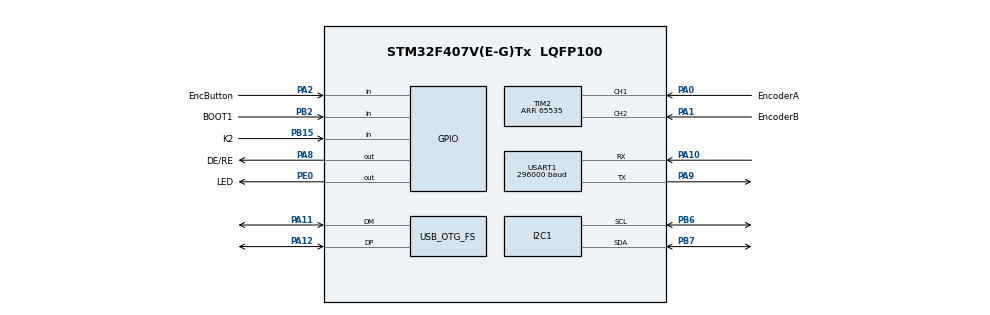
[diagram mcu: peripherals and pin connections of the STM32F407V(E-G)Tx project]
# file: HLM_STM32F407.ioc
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I2C1.I2C_Mode=I2C_Fast
Mcu.Family=STM32F4
Mcu.Name=STM32F407V(E-G)Tx
Mcu.Package=LQFP100
NVIC.OTG_FS_IRQn=true\:0\:0\:false\:false\:true\:false\:true\:true
NVIC.PriorityGroup=NVIC_PRIORITYGROUP_4
NVIC.USART1_IRQn=true\:0\:0\:false\:false\:true\:true\:true\:true
PA0-WKUP.GPIO_Label=EncoderA
PA0-WKUP.Signal=S_TIM2_CH1_ETR
PA1.GPIO_Label=EncoderB
PA1.Signal=S_TIM2_CH2
PA10.Mode=Asynchronous
PA10.Signal=USART1_RX
PA11.Mode=Device_Only
PA11.Signal=USB_OTG_FS_DM
PA12.Mode=Device_Only
PA12.Signal=USB_OTG_FS_DP
PA13.Mode=Serial_Wire
PA13.Signal=SYS_JTMS-SWDIO
PA14.Mode=Serial_Wire
PA14.Signal=SYS_JTCK-SWCLK
PA2.GPIO_Label=EncButton
PA2.GPIO_PuPd=GPIO_PULLUP
PA2.Signal=GPIO_Input
PA8.GPIO_Label=DE/RE
PA8.Signal=GPIO_Output
PA9.Mode=Asynchronous
PA9.Signal=USART1_TX
PB15.GPIO_Label=K2
PB15.Signal=GPIO_Input
PB2.GPIO_Label=BOOT1
PB2.Signal=GPIO_Input
PB6.Mode=I2C
PB6.Signal=I2C1_SCL
PB7.Mode=I2C
PB7.Signal=I2C1_SDA
PE0.GPIO_Label=LED
PE0.Signal=GPIO_Output
PH0-OSC_IN.Mode=HSE-External-Oscillator
PH0-OSC_IN.Signal=RCC_OSC_IN
PH1-OSC_OUT.Mode=HSE-External-Oscillator
PH1-OSC_OUT.Signal=RCC_OSC_OUT
ProjectManager.HeapSize=0x200
ProjectManager.StackSize=0x400
ProjectManager.TargetToolchain=CMake
RCC.48MHZClocksFreq_Value=48000000
RCC.AHBFreq_Value=168000000
RCC.APB1CLKDivider=RCC_HCLK_DIV4
RCC.APB1Freq_Value=42000000
RCC.APB1TimFreq_Value=84000000
RCC.APB2CLKDivider=RCC_HCLK_DIV2
RCC.APB2Freq_Value=84000000
RCC.APB2TimFreq_Value=168000000
RCC.CortexFreq_Value=168000000
RCC.HCLKFreq_Value=168000000
RCC.HSE_VALUE=8000000
RCC.HSI_VALUE=16000000
RCC.LSE_VALUE=32768
RCC.PLLM=8
RCC.PLLN=336
RCC.PLLQ=7
RCC.SYSCLKFreq_VALUE=168000000
RCC.SYSCLKSource=RCC_SYSCLKSOURCE_PLLCLK
RCC.VCOOutputFreq_Value=336000000
SH.S_TIM2_CH1_ETR.0=TIM2_CH1,Encoder_Interface
SH.S_TIM2_CH2.0=TIM2_CH2,Encoder_Interface
TIM2.EncoderMode=TIM_ENCODERMODE_TI12
TIM2.IC1Filter=15
TIM2.IC1Polarity=TIM_ICPOLARITY_FALLING
TIM2.IC2Polarity=TIM_ICPOLARITY_FALLING
TIM2.Period=65535
USART1.BaudRate=296000
USART1.StopBits=STOPBITS_2
USART1.VirtualMode=VM_ASYNC
USART1.WordLength=WORDLENGTH_9B
USB_DEVICE.CLASS_NAME_FS=CDC
USB_DEVICE.VirtualMode-CDC_FS=Cdc
USB_DEVICE.VirtualModeFS=Cdc_FS
USB_OTG_FS.VirtualMode=Device_Only
VP_USB_DEVICE_VS_USB_DEVICE_CDC_FS.Mode=CDC_FS
board=custom

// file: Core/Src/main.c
/* USER CODE BEGIN Header */

/*
 * This file is part of the Homebrew Loudspeaker Manager distribution (https://github.com/robcazzaro/hlm).
 * Copyright (c) 2026 Rob Cazzaro.
 *
 * This program is free software: you can redistribute it and/or modify
 * it under the terms of the GNU General Public License as published by
 * the Free Software Foundation, version 3.
 *
 * This program is distributed in the hope that it will be useful, but
 * WITHOUT ANY WARRANTY; without even the implied warranty of
 * MERCHANTABILITY or FITNESS FOR A PARTICULAR PURPOSE. See the GNU
 * General Public License for more details.
 *
 * You should have received a copy of the GNU General Public License
 * along with this program. If not, see <http://www.gnu.org/licenses/>.
 */

/*

If you are building a new STM32Cube project, you need to also modify some of the ST files

modify USB_Device\App\usb_cdc_if.c
  add in private_variables
  volatile uint8_t usb_port_opened = 0;

  and modify

      case CDC_SET_CONTROL_LINE_STATE:
        // USER CODE BEGIN 3
        // pbuf[0] contains the DTR (bit 0) and RTS (bit 1) states.
        // We check bit 0 to see if the terminal has asserted DTR (port opened).
        usb_port_opened = (pbuf[0] & 0x01) != 0;
        // USER CODE END 3
      break;

Also change stm32f1xx_it.c with ISR code for the USART port

User includes
#include <stdbool.h> // Need this for the 'bool' type
#include <string.h>  // Need this for memcpy

Private Variables

  // Internal ISR state (Do not touch outside the interrupt)
  extern uint16_t isr_buffer[RX_BUFFER_SIZE];
  extern uint16_t isr_index;

  extern volatile uint16_t parse_buffer[RX_BUFFER_SIZE];
  extern volatile uint16_t parse_length;
  extern volatile bool message_ready;

void USART1_IRQHandler(void)
{
    // 1. Check for Hardware Errors FIRST
    // We read the Status Register (SR) here via the IsActiveFlag functions.
    bool has_error = false;
    if (LL_USART_IsActiveFlag_ORE(USART1) ||
        LL_USART_IsActiveFlag_FE(USART1) ||
        LL_USART_IsActiveFlag_NE(USART1))
    {
        has_error = true;
    }

    // 2. Check if a character was received
    if (LL_USART_IsActiveFlag_RXNE(USART1) && LL_USART_IsEnabledIT_RXNE(USART1))
    {
        // 3. Read the Data Register
        // *CRITICAL HARDWARE BEHAVIOR*: Reading DR right here automatically
        // clears the RXNE flag AND all the Error flags (ORE, FE, NE) we just checked!
        uint16_t rx_char = LL_USART_ReceiveData9(USART1);

        // 4. If this byte arrived with a framing or overrun error, drop the whole frame
        if (has_error)
        {
            isr_index = 0;
        }
        else
        {
            // 5. Normal processing: Is this the start of a new frame? (9th bit HIGH)
            if (rx_char & 0x0100)
            {
                isr_index = 0;
                isr_buffer[isr_index++] = rx_char;
            }
            // 6. Only capture if we are actively building a valid frame
            else if (isr_index > 0)
            {
                isr_buffer[isr_index++] = rx_char;

                // 7. End of Frame marker? (0x7E)
                if ((rx_char & 0x00FF) == 0x7E)
                {
                    if (!message_ready)
                    {
                        memcpy((void*)parse_buffer, (void*)isr_buffer, isr_index * sizeof(uint16_t));
                        parse_length = isr_index;
                        message_ready = true;
                    }
                    isr_index = 0;
                }
                // 8. Buffer Overflow Protection
                else if (isr_index >= RX_BUFFER_SIZE)
                {
                    isr_index = 0;
                }
            }
        }
    }
}

*/

/**
  ******************************************************************************
  * @file           : main.c
  * @brief          : Main program body
  ******************************************************************************
  * @attention
  *
  * Copyright (c) 2026 STMicroelectronics.
  * All rights reserved.
  *
  * This software is licensed under terms that can be found in the LICENSE file
  * in the root directory of this software component.
  * If no LICENSE file comes with this software, it is provided AS-IS.
  *
  ******************************************************************************
  */
/* USER CODE END Header */
#include "main.h"
#include "usb_device.h"

/* USER CODE BEGIN Includes */
#include "main.h"
#include "hub_app.h"
#include "usb_device.h"
#include "stdint.h"
#include "stdbool.h"
#include "stdio.h" // For printf
#include "usbd_cdc_if.h"
#include "stm32f4xx_ll_usart.h" // Ensure LL USART header is included
#include "stm32f4xx_hal.h"
#include "stm32f4xx_ll_i2c.h"
#include "glm_library.h"
#include "bsp.h"
#include "oled.h"

/* USER CODE END Includes */

/* USER CODE BEGIN PV */

// The Double Buffer (Exposed to main loop)
volatile uint16_t parse_buffer[RX_BUFFER_SIZE];
volatile uint16_t parse_length = 0;
volatile bool message_ready = false;

volatile bool dump = false;

/* USER CODE END PV */

void SystemClock_Config(void);
static void MX_GPIO_Init(void);
static void MX_USART1_UART_Init(void);
static void MX_I2C1_Init(void);
static void MX_TIM2_Init(void);

/* USER CODE BEGIN 0 */

// Make sure OLED_I2C is defined as your I2C instance (e.g., I2C1)
#ifndef OLED_I2C
#define OLED_I2C I2C1
#endif

#if !defined(HLM_HUB) && !defined(HLM_HEX_DUMP) && !defined(HLM_ANALYZER)
    #error "Compilation Error: You must define one of HLM_HUB, HLM_HEX_DUMP, or HLM_ANALYZER."
#endif
/* USER CODE END 0 */

int main(void)
{

  /* MCU Configuration--------------------------------------------------------*/

  /* Reset of all peripherals, Initializes the Flash interface and the Systick. */
   HAL_Init();

  /* Configure the system clock */
  SystemClock_Config();

  /* Initialize all configured peripherals */
  MX_GPIO_Init();
  MX_USART1_UART_Init();
  MX_USB_DEVICE_Init();
#ifdef HLM_HUB    // I2C and encoder are used only for the hub, not protocol analyzers
  MX_I2C1_Init();   // it will generate a compiler warning that the function is defined and not used, just ignore
  MX_TIM2_Init();
#endif
  /* USER CODE BEGIN 2 */

  // Enable the USART1 Receive Interrupt.
  // It will now fire the USART1_IRQHandler every time a byte arrives.
  LL_USART_EnableIT_RXNE(USART1);

  // Optional but recommended: Enable error interrupts so ORE/FE flags trigger the ISR
  //LL_USART_EnableIT_ERROR(USART1);

  LL_GPIO_SetOutputPin(LED_GPIO_Port, LED_Pin);           // turn off LED
  LL_GPIO_ResetOutputPin(DE_RE_GPIO_Port, DE_RE_Pin);     // MAX485 in receive mode

#ifdef HLM_HUB    // only needed for the hub functionality
  encoder_volume_init();
  button_init();
  oled_init();
  hub_init();
#endif

  /* USER CODE END 2 */

  /* Infinite loop */
  /* USER CODE BEGIN WHILE */
  while (1) {

    // Process any data waiting to be sent over USB
    process_usb_tx_task();

    // Check if a complete, valid frame was copied by the ISR
    if (message_ready) {

#ifdef HLM_HEX_DUMP
      dump_message((uint16_t *)parse_buffer, parse_length);
#else
      // Pass the double-buffer to your parser
      parse_message((uint16_t*)parse_buffer, parse_length);   // HLM_HUB or HLM_ANALYZER will define the parse_message behavior
#endif

      message_ready = false;
    }

#ifdef HLM_HUB
    // Update encoder and button
    encoder_volume_update();
    button_task();
    hub_main_loop();
#endif

    /* USER CODE END WHILE */

  }
}

void SystemClock_Config(void)
{
  LL_FLASH_SetLatency(LL_FLASH_LATENCY_5);
  while(LL_FLASH_GetLatency()!= LL_FLASH_LATENCY_5)
  {
  }
  LL_PWR_SetRegulVoltageScaling(LL_PWR_REGU_VOLTAGE_SCALE1);
  LL_RCC_HSE_Enable();

   /* Wait till HSE is ready */
  while(LL_RCC_HSE_IsReady() != 1)
  {

  }
  LL_RCC_PLL_ConfigDomain_SYS(LL_RCC_PLLSOURCE_HSE, LL_RCC_PLLM_DIV_8, 336, LL_RCC_PLLP_DIV_2);
  LL_RCC_PLL_ConfigDomain_48M(LL_RCC_PLLSOURCE_HSE, LL_RCC_PLLM_DIV_8, 336, LL_RCC_PLLQ_DIV_7);
  LL_RCC_PLL_Enable();

   /* Wait till PLL is ready */
  while(LL_RCC_PLL_IsReady() != 1)
  {

  }
  while (LL_PWR_IsActiveFlag_VOS() == 0)
  {
  }
  LL_RCC_SetAHBPrescaler(LL_RCC_SYSCLK_DIV_1);
  LL_RCC_SetAPB1Prescaler(LL_RCC_APB1_DIV_4);
  LL_RCC_SetAPB2Prescaler(LL_RCC_APB2_DIV_2);
  LL_RCC_SetSysClkSource(LL_RCC_SYS_CLKSOURCE_PLL);

   /* Wait till System clock is ready */
  while(LL_RCC_GetSysClkSource() != LL_RCC_SYS_CLKSOURCE_STATUS_PLL)
  {

  }
  LL_SetSystemCoreClock(168000000);

   /* Update the time base */
  if (HAL_InitTick (TICK_INT_PRIORITY) != HAL_OK)
  {
    Error_Handler();
  }
}

static void MX_I2C1_Init(void)
{

  LL_I2C_InitTypeDef I2C_InitStruct = {0};

  LL_GPIO_InitTypeDef GPIO_InitStruct = {0};

  LL_AHB1_GRP1_EnableClock(LL_AHB1_GRP1_PERIPH_GPIOB);
  /**I2C1 GPIO Configuration
  PB6   ------> I2C1_SCL
  PB7   ------> I2C1_SDA
  */
  GPIO_InitStruct.Pin = LL_GPIO_PIN_6|LL_GPIO_PIN_7;
  GPIO_InitStruct.Mode = LL_GPIO_MODE_ALTERNATE;
  GPIO_InitStruct.Speed = LL_GPIO_SPEED_FREQ_VERY_HIGH;
  GPIO_InitStruct.OutputType = LL_GPIO_OUTPUT_OPENDRAIN;
  GPIO_InitStruct.Pull = LL_GPIO_PULL_NO;
  GPIO_InitStruct.Alternate = LL_GPIO_AF_4;
  LL_GPIO_Init(GPIOB, &GPIO_InitStruct);

  /* Peripheral clock enable */
  LL_APB1_GRP1_EnableClock(LL_APB1_GRP1_PERIPH_I2C1);

  /** I2C Initialization
  */
  LL_I2C_DisableOwnAddress2(I2C1);
  LL_I2C_DisableGeneralCall(I2C1);
  LL_I2C_EnableClockStretching(I2C1);
  I2C_InitStruct.PeripheralMode = LL_I2C_MODE_I2C;
  I2C_InitStruct.ClockSpeed = 400000;
  I2C_InitStruct.DutyCycle = LL_I2C_DUTYCYCLE_2;
  I2C_InitStruct.OwnAddress1 = 0;
  I2C_InitStruct.TypeAcknowledge = LL_I2C_ACK;
  I2C_InitStruct.OwnAddrSize = LL_I2C_OWNADDRESS1_7BIT;
  LL_I2C_Init(I2C1, &I2C_InitStruct);
  LL_I2C_SetOwnAddress2(I2C1, 0);

}

static void MX_TIM2_Init(void)
{

  LL_TIM_InitTypeDef TIM_InitStruct = {0};

  LL_GPIO_InitTypeDef GPIO_InitStruct = {0};

  /* Peripheral clock enable */
  LL_APB1_GRP1_EnableClock(LL_APB1_GRP1_PERIPH_TIM2);

  LL_AHB1_GRP1_EnableClock(LL_AHB1_GRP1_PERIPH_GPIOA);
  /**TIM2 GPIO Configuration
  PA0-WKUP   ------> TIM2_CH1
  PA1   ------> TIM2_CH2
  */
  GPIO_InitStruct.Pin = EncoderA_Pin|EncoderB_Pin;
  GPIO_InitStruct.Mode = LL_GPIO_MODE_ALTERNATE;
  GPIO_InitStruct.Speed = LL_GPIO_SPEED_FREQ_LOW;
  GPIO_InitStruct.OutputType = LL_GPIO_OUTPUT_PUSHPULL;
  GPIO_InitStruct.Pull = LL_GPIO_PULL_NO;
  GPIO_InitStruct.Alternate = LL_GPIO_AF_1;
  LL_GPIO_Init(GPIOA, &GPIO_InitStruct);

  LL_TIM_SetEncoderMode(TIM2, LL_TIM_ENCODERMODE_X4_TI12);
  LL_TIM_IC_SetActiveInput(TIM2, LL_TIM_CHANNEL_CH1, LL_TIM_ACTIVEINPUT_DIRECTTI);
  LL_TIM_IC_SetPrescaler(TIM2, LL_TIM_CHANNEL_CH1, LL_TIM_ICPSC_DIV1);
  LL_TIM_IC_SetFilter(TIM2, LL_TIM_CHANNEL_CH1, LL_TIM_IC_FILTER_FDIV32_N8);
  LL_TIM_IC_SetPolarity(TIM2, LL_TIM_CHANNEL_CH1, LL_TIM_IC_POLARITY_FALLING);
  LL_TIM_IC_SetActiveInput(TIM2, LL_TIM_CHANNEL_CH2, LL_TIM_ACTIVEINPUT_DIRECTTI);
  LL_TIM_IC_SetPrescaler(TIM2, LL_TIM_CHANNEL_CH2, LL_TIM_ICPSC_DIV1);
  LL_TIM_IC_SetFilter(TIM2, LL_TIM_CHANNEL_CH2, LL_TIM_IC_FILTER_FDIV1);
  LL_TIM_IC_SetPolarity(TIM2, LL_TIM_CHANNEL_CH2, LL_TIM_IC_POLARITY_FALLING);
  TIM_InitStruct.Prescaler = 0;
  TIM_InitStruct.CounterMode = LL_TIM_COUNTERMODE_UP;
  TIM_InitStruct.Autoreload = 65535;
  TIM_InitStruct.ClockDivision = LL_TIM_CLOCKDIVISION_DIV1;
  LL_TIM_Init(TIM2, &TIM_InitStruct);
  LL_TIM_DisableARRPreload(TIM2);
  LL_TIM_SetTriggerOutput(TIM2, LL_TIM_TRGO_RESET);
  LL_TIM_DisableMasterSlaveMode(TIM2);

}

static void MX_USART1_UART_Init(void)
{

  LL_USART_InitTypeDef USART_InitStruct = {0};

  LL_GPIO_InitTypeDef GPIO_InitStruct = {0};

  /* Peripheral clock enable */
  LL_APB2_GRP1_EnableClock(LL_APB2_GRP1_PERIPH_USART1);

  LL_AHB1_GRP1_EnableClock(LL_AHB1_GRP1_PERIPH_GPIOA);
  /**USART1 GPIO Configuration
  PA9   ------> USART1_TX
  PA10   ------> USART1_RX
  */
  GPIO_InitStruct.Pin = LL_GPIO_PIN_9|LL_GPIO_PIN_10;
  GPIO_InitStruct.Mode = LL_GPIO_MODE_ALTERNATE;
  GPIO_InitStruct.Speed = LL_GPIO_SPEED_FREQ_VERY_HIGH;
  GPIO_InitStruct.OutputType = LL_GPIO_OUTPUT_PUSHPULL;
  GPIO_InitStruct.Pull = LL_GPIO_PULL_NO;
  GPIO_InitStruct.Alternate = LL_GPIO_AF_7;
  LL_GPIO_Init(GPIOA, &GPIO_InitStruct);

  /* USART1 interrupt Init */
  NVIC_SetPriority(USART1_IRQn, NVIC_EncodePriority(NVIC_GetPriorityGrouping(),0, 0));
  NVIC_EnableIRQ(USART1_IRQn);

  USART_InitStruct.BaudRate = 296000;
  USART_InitStruct.DataWidth = LL_USART_DATAWIDTH_9B;
  USART_InitStruct.StopBits = LL_USART_STOPBITS_2;
  USART_InitStruct.Parity = LL_USART_PARITY_NONE;
  USART_InitStruct.TransferDirection = LL_USART_DIRECTION_TX_RX;
  USART_InitStruct.HardwareFlowControl = LL_USART_HWCONTROL_NONE;
  USART_InitStruct.OverSampling = LL_USART_OVERSAMPLING_16;
  LL_USART_Init(USART1, &USART_InitStruct);
  LL_USART_ConfigAsyncMode(USART1);
  LL_USART_Enable(USART1);

}

static void MX_GPIO_Init(void)
{
  LL_GPIO_InitTypeDef GPIO_InitStruct = {0};

  /* GPIO Ports Clock Enable */
  LL_AHB1_GRP1_EnableClock(LL_AHB1_GRP1_PERIPH_GPIOH);
  LL_AHB1_GRP1_EnableClock(LL_AHB1_GRP1_PERIPH_GPIOA);
  LL_AHB1_GRP1_EnableClock(LL_AHB1_GRP1_PERIPH_GPIOB);
  LL_AHB1_GRP1_EnableClock(LL_AHB1_GRP1_PERIPH_GPIOE);

  /**/
  LL_GPIO_ResetOutputPin(DE_RE_GPIO_Port, DE_RE_Pin);

  /**/
  LL_GPIO_ResetOutputPin(LED_GPIO_Port, LED_Pin);

  /**/
  GPIO_InitStruct.Pin = EncButton_Pin;
  GPIO_InitStruct.Mode = LL_GPIO_MODE_INPUT;
  GPIO_InitStruct.Pull = LL_GPIO_PULL_UP;
  LL_GPIO_Init(EncButton_GPIO_Port, &GPIO_InitStruct);

  /**/
  GPIO_InitStruct.Pin = BOOT1_Pin|K2_Pin;
  GPIO_InitStruct.Mode = LL_GPIO_MODE_INPUT;
  GPIO_InitStruct.Pull = LL_GPIO_PULL_NO;
  LL_GPIO_Init(GPIOB, &GPIO_InitStruct);

  /**/
  GPIO_InitStruct.Pin = DE_RE_Pin;
  GPIO_InitStruct.Mode = LL_GPIO_MODE_OUTPUT;
  GPIO_InitStruct.Speed = LL_GPIO_SPEED_FREQ_LOW;
  GPIO_InitStruct.OutputType = LL_GPIO_OUTPUT_PUSHPULL;
  GPIO_InitStruct.Pull = LL_GPIO_PULL_NO;
  LL_GPIO_Init(DE_RE_GPIO_Port, &GPIO_InitStruct);

  /**/
  GPIO_InitStruct.Pin = LED_Pin;
  GPIO_InitStruct.Mode = LL_GPIO_MODE_OUTPUT;
  GPIO_InitStruct.Speed = LL_GPIO_SPEED_FREQ_LOW;
  GPIO_InitStruct.OutputType = LL_GPIO_OUTPUT_PUSHPULL;
  GPIO_InitStruct.Pull = LL_GPIO_PULL_NO;
  LL_GPIO_Init(LED_GPIO_Port, &GPIO_InitStruct);

}

void Error_Handler(void)
{
  __disable_irq();
  while (1)
  {
  }
}
